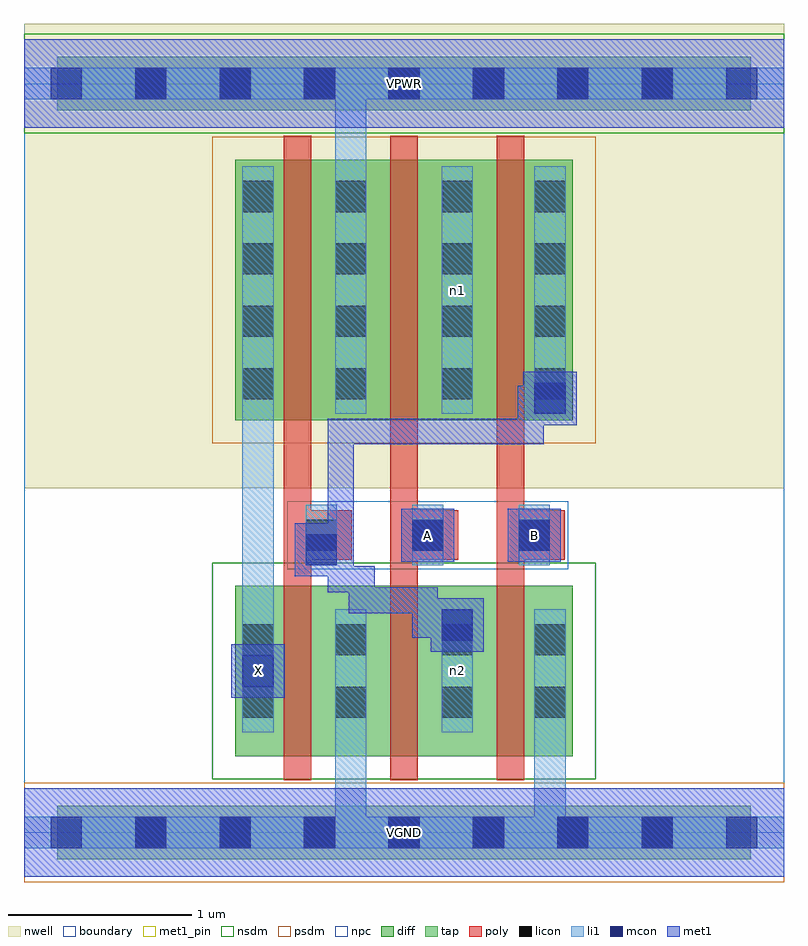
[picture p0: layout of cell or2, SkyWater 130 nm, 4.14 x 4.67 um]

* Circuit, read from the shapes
.subckt or2 A B VGND VPWR X n1 n2
XM1 VGND n2 X VGND sky130_fd_pr__nfet_01v8 w=0.93 l=0.15
XM2 n2 A VGND VGND sky130_fd_pr__nfet_01v8 w=0.93 l=0.15
XM3 VGND B n2 VGND sky130_fd_pr__nfet_01v8 w=0.93 l=0.15
XM4 VPWR n2 X VPWR sky130_fd_pr__pfet_01v8 w=1.42 l=0.15
XM5 n1 A VPWR VPWR sky130_fd_pr__pfet_01v8 w=1.42 l=0.15
XM6 n2 B n1 VPWR sky130_fd_pr__pfet_01v8 w=1.42 l=0.15
.ends

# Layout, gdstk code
import gdstk
lib = gdstk.Library(unit=1e-6, precision=1e-09)
def R(c, l, rs):  # rectangles x0, y0, x1, y1
    for r in rs: c.add(gdstk.rectangle(r[:2], r[2:], *l))
def A(c, l, x, y, w, h, nx, ny, dx, dy):  # array of equal rectangles
    R(c, l, [(x+i*dx, y+j*dy, x+i*dx+w, y+j*dy+h) for i in range(nx) for j in range(ny)])
nwell = (64, 20)
diff = (65, 20)
tap = (65, 44)
poly = (66, 20)
licon = (66, 44)
li1 = (67, 20)
mcon = (67, 44)
met1_pin = (68, 16)
met1 = (68, 20)
nsdm = (93, 44)
psdm = (94, 20)
npc = (95, 20)
boundary = (235, 4)

or2 = lib.new_cell('or2')
R(or2, nwell, [(0,1.875,4.14,4.405)])
R(or2, diff, [(1.15,0.415,2.99,1.345), (1.15,2.245,2.99,3.665)])
R(or2, tap, [(0.18,-0.145,3.96,0.145), (0.18,3.935,3.96,4.225)])
A(or2, poly, 1.415, 0.285, 0.15, 3.51, 3, 1, 0.58, 0)
A(or2, poly, 1.455, 1.485, 0.33, 0.27, 3, 1, 0.58, 0)
A(or2, licon, 0.605, -0.085, 0.17, 0.17, 7, 2, 0.46, 4.08)
A(or2, licon, 1.535, 1.535, 0.17, 0.17, 3, 1, 0.58, 0)
A(or2, licon, 1.19, 2.36, 0.17, 0.17, 1, 4, 0, 0.34)
A(or2, licon, 1.695, 2.36, 0.17, 0.17, 1, 4, 0, 0.34)
A(or2, licon, 2.275, 2.36, 0.17, 0.17, 1, 4, 0, 0.34)
A(or2, licon, 2.78, 2.36, 0.17, 0.17, 1, 4, 0, 0.34)
R(or2, licon, [(1.19,0.625,1.36,0.795), (1.695,0.625,1.865,0.795), (2.275,0.625,2.445,0.795), (2.78,0.625,2.95,0.795), (1.19,0.965,1.36,1.135), (1.695,0.965,1.865,1.135), (2.275,0.965,2.445,1.135), (2.78,0.965,2.95,1.135)])
A(or2, li1, 1.535, 1.455, 0.17, 0.33, 3, 1, 0.58, 0)
R(or2, li1, [(0,-0.085,4.14,0.085), (1.695,-0.085,1.865,1.215), (2.78,-0.085,2.95,1.215), (1.19,0.545,1.36,1.215), (1.19,0.545,1.36,3.63), (1.695,0.545,1.865,1.215), (2.275,0.545,2.445,1.215), (2.78,0.545,2.95,1.215), (1.19,2.28,1.36,3.63), (1.695,2.28,1.865,3.63), (1.695,2.28,1.865,4.165), (2.275,2.28,2.445,3.63), (2.78,2.28,2.95,3.63), (0,3.995,4.14,4.165)])
A(or2, mcon, 0.145, -0.085, 0.17, 0.17, 9, 2, 0.46, 4.08)
R(or2, mcon, [(1.19,0.795,1.36,0.965), (2.275,1.045,2.445,1.215), (1.535,1.455,1.705,1.625), (2.115,1.535,2.285,1.705), (2.695,1.535,2.865,1.705), (2.78,2.28,2.95,2.45)])
R(or2, met1_pin, [(0,-0.24,4.14,0.24), (1.13,0.735,1.42,1.025), (2.055,1.475,2.345,1.765), (2.635,1.475,2.925,1.765), (0,3.84,4.14,4.32)])
R(or2, met1, [(0,-0.24,4.14,0.24), (1.13,0.735,1.42,1.025), (2.215,0.985,2.505,1.275), (2.115,1.06,2.43,1.2), (2.115,1.06,2.255,1.335), (1.77,1.195,1.91,1.45), (1.77,1.195,2.255,1.335), (1.655,1.31,1.795,1.61), (1.655,1.31,1.91,1.45), (1.655,1.31,1.795,2.255), (1.475,1.395,1.765,1.685), (1.55,1.47,1.795,1.61), (2.055,1.475,2.345,1.765), (2.635,1.475,2.925,1.765), (1.655,2.115,2.83,2.255), (2.69,2.115,2.83,2.435), (2.72,2.22,3.01,2.51), (2.69,2.295,2.935,2.435), (0,3.84,4.14,4.32)])
R(or2, nsdm, [(1.025,0.29,3.115,1.47), (0,3.81,4.14,4.35)])
R(or2, psdm, [(0,-0.27,4.14,0.27), (1.025,2.12,3.115,3.79)])
R(or2, npc, [(1.435,1.435,2.965,1.805)])
R(or2, boundary, [(0,0,4.14,4.08)])
or2.add(gdstk.Label('n2', (2.36,0.88), layer=67, texttype=5))
or2.add(gdstk.Label('n1', (2.36,2.955), layer=67, texttype=5))
or2.add(gdstk.Label('A', (2.2,1.62), layer=68, texttype=5))
or2.add(gdstk.Label('B', (2.78,1.62), layer=68, texttype=5))
or2.add(gdstk.Label('X', (1.275,0.88), layer=68, texttype=5))
or2.add(gdstk.Label('VPWR', (2.07,4.08), layer=68, texttype=5))
or2.add(gdstk.Label('VGND', (2.07,0), layer=68, texttype=5))
or2.add(gdstk.Label('A', (2.2,1.62), layer=68, texttype=16))
or2.add(gdstk.Label('B', (2.78,1.62), layer=68, texttype=16))
or2.add(gdstk.Label('X', (1.275,0.88), layer=68, texttype=16))
or2.add(gdstk.Label('VPWR', (2.07,4.08), layer=68, texttype=16))
or2.add(gdstk.Label('VGND', (2.07,0), layer=68, texttype=16))

lib.write_gds('or2.gds')
